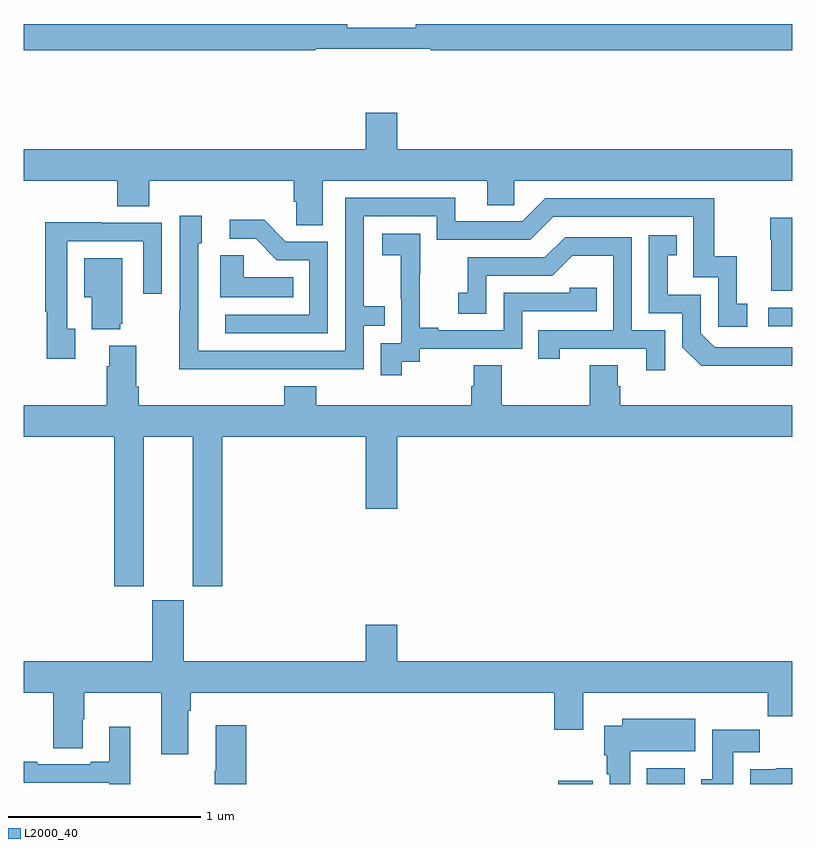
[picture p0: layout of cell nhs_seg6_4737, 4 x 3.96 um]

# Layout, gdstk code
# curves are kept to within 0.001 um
import gdstk
lib = gdstk.Library(unit=1e-6, precision=1e-09)
def R(c, l, rs):  # rectangles x0, y0, x1, y1
    for r in rs: c.add(gdstk.rectangle(r[:2], r[2:], *l))
def P(c, l, *ps):  # polygons
    for p in ps: c.add(gdstk.Polygon(p, *l))
L2000_40 = (2000, 40)

nhs_seg6_4737 = lib.new_cell('nhs_seg6_4737')
R(nhs_seg6_4737, L2000_40, [(393.782,973.5,393.961,973.516), (394.244,973.5,394.441,973.582), (394.875,975.882,395,975.978)])
P(nhs_seg6_4737, L2000_40, [(392.518,977.328),(393.118,977.328),(393.118,977.32),(395,977.32),(395,977.456),(393.04,977.456),(393.04,977.437),(392.684,977.437),(392.684,977.456),(391,977.456),(391,977.32),(392.518,977.32)],
  [(392.944,976.993),(392.78,976.993),(392.78,976.804),(391,976.804),(391,976.64),(391.487,976.64),(391.487,976.507),(391.652,976.507),(391.652,976.64),(392.405,976.64),(392.405,976.531),(392.418,976.531),(392.418,976.408),(392.557,976.408),(392.557,976.64),(393.413,976.64),(393.413,976.513),(393.552,976.513),(393.552,976.64),(395,976.64),(395,976.804),(392.944,976.804)],
  [(392.273,975.66),(392.769,975.66),(392.769,975.885),(392.879,975.885),(392.879,975.986),(392.769,975.986),(392.769,976.455),(393.15,976.455),(393.15,976.332),(393.636,976.332),(393.756,976.452),(394.485,976.452),(394.485,976.137),(394.614,976.137),(394.614,975.879),(394.765,975.879),(394.765,975.999),(394.712,975.999),(394.712,976.246),(394.594,976.246),(394.594,976.548),(393.714,976.548),(393.594,976.428),(393.247,976.428),(393.247,976.551),(392.673,976.551),(392.673,975.756),(391.908,975.756),(391.908,976.314),(391.927,976.314),(391.927,976.459),(391.812,976.459),(391.812,975.965),(391.81,975.965),(391.81,975.659)],
  [(395,976.447),(394.885,976.447),(394.885,976.334),(394.892,976.334),(394.892,976.067),(395,976.067)],
  [(392.583,976.323),(392.364,976.323),(392.251,976.436),(392.073,976.436),(392.073,976.338),(392.207,976.338),(392.318,976.227),(392.487,976.227),(392.487,975.942),(392.049,975.942),(392.049,975.846),(392.583,975.846)],
  [(391.267,975.87),(391.227,975.87),(391.227,976.326),(391.623,976.326),(391.623,976.053),(391.719,976.053),(391.719,976.422),(391.403,976.422),(391.403,976.424),(391.111,976.424),(391.111,975.958),(391.119,975.958),(391.119,975.714),(391.267,975.714)],
  [(392.968,975.697),(393.06,975.697),(393.06,975.765),(393.594,975.765),(393.594,975.96),(393.983,975.96),(393.983,976.083),(393.843,976.083),(393.843,976.056),(393.498,976.056),(393.498,975.861),(393.157,975.861),(393.157,975.874),(393.062,975.874),(393.062,976.157),(393.063,976.157),(393.063,976.363),(392.865,976.363),(392.865,976.253),(392.963,976.253),(392.963,976.025),(392.964,976.025),(392.964,975.795),(392.859,975.795),(392.859,975.627),(392.968,975.627)],
  [(394.934,975.678),(395,975.678),(395,975.774),(394.596,975.774),(394.524,975.846),(394.524,976.047),(394.351,976.047),(394.351,976.251),(394.4,976.251),(394.4,976.357),(394.254,976.357),(394.254,975.951),(394.428,975.951),(394.428,975.774),(394.526,975.677)],
  [(394.338,975.861),(394.164,975.861),(394.164,976.347),(393.818,976.347),(393.713,976.242),(393.31,976.242),(393.31,976.057),(393.261,976.057),(393.261,975.948),(393.408,975.948),(393.408,976.146),(393.75,976.146),(393.854,976.25),(394.068,976.25),(394.068,975.861),(393.679,975.861),(393.679,975.714),(393.79,975.714),(393.79,975.765),(394.241,975.765),(394.241,975.654),(394.338,975.654)],
  [(392.402,976.138),(392.145,976.138),(392.145,976.253),(392.024,976.253),(392.024,976.034),(392.402,976.034)],
  [(391.502,975.897),(391.513,975.897),(391.513,976.237),(391.316,976.237),(391.316,976.034),(391.355,976.034),(391.355,975.866),(391.502,975.866)],
  [(391.624,975.308),(391.88,975.308),(391.88,974.529),(392.033,974.529),(392.033,975.308),(392.78,975.308),(392.78,974.934),(392.944,974.934),(392.944,975.308),(395,975.308),(395,975.472),(394.106,975.472),(394.106,975.57),(394.093,975.57),(394.093,975.68),(393.946,975.68),(393.946,975.472),(393.489,975.472),(393.489,975.68),(393.341,975.68),(393.341,975.57),(393.329,975.57),(393.329,975.472),(392.522,975.472),(392.522,975.571),(392.357,975.571),(392.357,975.472),(391.598,975.472),(391.598,975.568),(391.585,975.568),(391.585,975.781),(391.445,975.781),(391.445,975.674),(391.433,975.674),(391.433,975.472),(391,975.472),(391,975.308),(391.472,975.308),(391.472,974.529),(391.624,974.529)],
  [(391.855,973.88),(391.868,973.88),(391.868,973.976),(393.761,973.976),(393.761,973.782),(393.913,973.782),(393.913,973.976),(394.873,973.976),(394.873,973.852),(395,973.852),(395,974.14),(392.944,974.14),(392.944,974.329),(392.78,974.329),(392.78,974.14),(391.834,974.14),(391.834,974.457),(391.67,974.457),(391.67,974.14),(391,974.14),(391,973.976),(391.154,973.976),(391.154,973.687),(391.306,973.687),(391.306,973.838),(391.314,973.838),(391.314,973.976),(391.715,973.976),(391.715,973.656),(391.855,973.656)],
  [(394.156,973.67),(394.495,973.67),(394.495,973.84),(394.115,973.84),(394.115,973.804),(394.022,973.804),(394.022,973.65),(394.034,973.65),(394.034,973.55),(394.049,973.55),(394.049,973.5),(394.156,973.5)],
  [(392.159,973.807),(392,973.807),(392,973.568),(391.993,973.568),(391.993,973.5),(392.159,973.5)],
  [(391.555,973.798),(391.445,973.798),(391.445,973.615),(391.349,973.615),(391.349,973.602),(391.07,973.602),(391.07,973.615),(391,973.615),(391,973.506),(391.446,973.506),(391.446,973.5),(391.555,973.5)],
  [(394.693,973.664),(394.832,973.664),(394.832,973.782),(394.583,973.782),(394.583,973.524),(394.526,973.524),(394.526,973.5),(394.693,973.5)],
  [(395,973.582),(394.914,973.582),(394.914,973.576),(394.781,973.576),(394.781,973.5),(395,973.5)])

lib.write_gds('nhs_seg6_4737.gds')
